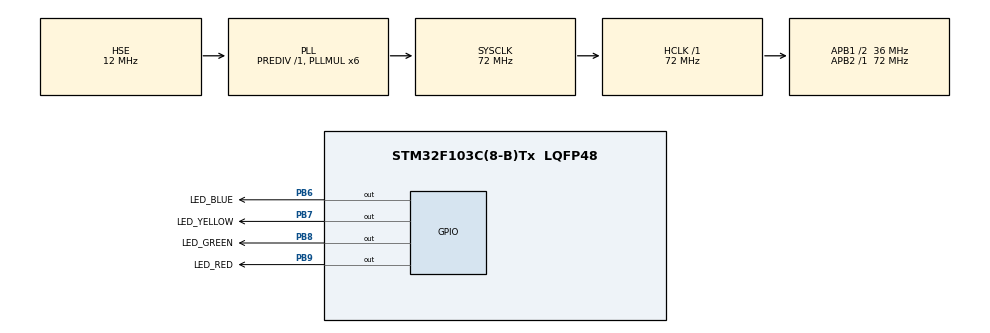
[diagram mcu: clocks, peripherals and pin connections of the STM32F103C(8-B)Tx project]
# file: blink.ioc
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Mcu.Family=STM32F1
Mcu.Name=STM32F103C(8-B)Tx
Mcu.Package=LQFP48
NVIC.PriorityGroup=NVIC_PRIORITYGROUP_4
PA13.Mode=Serial_Wire
PA13.Signal=SYS_JTMS-SWDIO
PA14.Mode=Serial_Wire
PA14.Signal=SYS_JTCK-SWCLK
PB6.GPIO_Label=LED_BLUE
PB6.GPIO_ModeDefaultOutputPP=GPIO_MODE_OUTPUT_OD
PB6.PinState=GPIO_PIN_SET
PB6.Signal=GPIO_Output
PB7.GPIO_Label=LED_YELLOW
PB7.GPIO_ModeDefaultOutputPP=GPIO_MODE_OUTPUT_OD
PB7.PinState=GPIO_PIN_SET
PB7.Signal=GPIO_Output
PB8.GPIO_Label=LED_GREEN
PB8.GPIO_ModeDefaultOutputPP=GPIO_MODE_OUTPUT_OD
PB8.PinState=GPIO_PIN_SET
PB8.Signal=GPIO_Output
PB9.GPIO_Label=LED_RED
PB9.GPIO_ModeDefaultOutputPP=GPIO_MODE_OUTPUT_OD
PB9.PinState=GPIO_PIN_RESET
PB9.Signal=GPIO_Output
PD0-OSC_IN.Mode=HSE-External-Oscillator
PD0-OSC_IN.Signal=RCC_OSC_IN
PD1-OSC_OUT.Mode=HSE-External-Oscillator
PD1-OSC_OUT.Signal=RCC_OSC_OUT
ProjectManager.HeapSize=0x200
ProjectManager.StackSize=0x400
ProjectManager.TargetToolchain=STM32CubeIDE
RCC.AHBFreq_Value=72000000
RCC.APB1CLKDivider=RCC_HCLK_DIV2
RCC.APB1Freq_Value=36000000
RCC.APB1TimFreq_Value=72000000
RCC.APB2Freq_Value=72000000
RCC.APB2TimFreq_Value=72000000
RCC.HCLKFreq_Value=72000000
RCC.HSE_VALUE=12000000
RCC.PLLMUL=RCC_PLL_MUL6
RCC.PLLSourceVirtual=RCC_PLLSOURCE_HSE
RCC.SYSCLKFreq_VALUE=72000000
RCC.SYSCLKSource=RCC_SYSCLKSOURCE_PLLCLK
RCC.USBFreq_Value=72000000
board=custom

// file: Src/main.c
/* USER CODE BEGIN Header */
/**
  ******************************************************************************
  * @file           : main.c
  * @brief          : Main program body
  ******************************************************************************
  * @attention
  *
  * <h2><center>&copy; Copyright (c) 2020 STMicroelectronics.
  * All rights reserved.</center></h2>
  *
  * This software component is licensed by ST under BSD 3-Clause license,
  * the "License"; You may not use this file except in compliance with the
  * License. You may obtain a copy of the License at:
  *                        opensource.org/licenses/BSD-3-Clause
  *
  ******************************************************************************
  */
/* USER CODE END Header */

#include "main.h"

/* USER CODE BEGIN Includes */
#include "tos_k.h"
/* USER CODE END Includes */

void SystemClock_Config(void);
static void MX_GPIO_Init(void);

/* USER CODE BEGIN 0 */
#define TASK_SIZE 512
k_task_t task1_handle;
k_task_t task2_handle;
k_task_t task3_handle;
k_task_t task4_handle;
uint8_t task1_stk[TASK_SIZE];
uint8_t task2_stk[TASK_SIZE];
uint8_t task3_stk[TASK_SIZE];
uint8_t task4_stk[TASK_SIZE];

void task1(void *arg)
{
    while (1) {
    	HAL_GPIO_WritePin(LED_BLUE_GPIO_Port, LED_BLUE_Pin, GPIO_PIN_RESET);
    	tos_task_delay(1000);
    	HAL_GPIO_WritePin(LED_BLUE_GPIO_Port, LED_BLUE_Pin, GPIO_PIN_SET);
    	tos_task_delay(1000);
    }
}

void task2(void *arg)
{
    while (1) {
    	HAL_GPIO_WritePin(LED_BLUE_GPIO_Port, LED_YELLOW_Pin, GPIO_PIN_SET);
    	tos_task_delay(1234);
    	HAL_GPIO_WritePin(LED_BLUE_GPIO_Port, LED_YELLOW_Pin, GPIO_PIN_RESET);
    	tos_task_delay(1234);
    }
}

void task3(void *arg)
{
    while (1) {
    	HAL_GPIO_WritePin(LED_BLUE_GPIO_Port, LED_GREEN_Pin, GPIO_PIN_RESET);
    	tos_task_delay(2345);
    	HAL_GPIO_WritePin(LED_BLUE_GPIO_Port, LED_GREEN_Pin, GPIO_PIN_SET);
    	tos_task_delay(2345);
    }
}

void task4(void *arg)
{
    while (1) {
    	HAL_GPIO_WritePin(LED_BLUE_GPIO_Port, LED_RED_Pin, GPIO_PIN_SET);
    	tos_task_delay(123);
    	HAL_GPIO_WritePin(LED_BLUE_GPIO_Port, LED_RED_Pin, GPIO_PIN_RESET);
    	tos_task_delay(123);
    }
}

/* USER CODE END 0 */

int main(void)
{

  /* MCU Configuration--------------------------------------------------------*/

  /* Reset of all peripherals, Initializes the Flash interface and the Systick. */
  HAL_Init();

  /* Configure the system clock */
  SystemClock_Config();

  /* Initialize all configured peripherals */
  MX_GPIO_Init();
  /* USER CODE BEGIN 2 */
  tos_knl_init();
  tos_task_create(&task1_handle, "task1", task1,      NULL, 3, task1_stk, TASK_SIZE, 0);
  tos_task_create(&task2_handle, "task2", task2,      NULL, 3, task2_stk, TASK_SIZE, 0);
  tos_task_create(&task3_handle, "task3", task3,      NULL, 3, task3_stk, TASK_SIZE, 0);
  tos_task_create(&task4_handle, "task4", task4,      NULL, 3, task4_stk, TASK_SIZE, 0);

  tos_knl_start();
  /* USER CODE END 2 */

  /* Infinite loop */
  while (1)
  {

  }
}

void SystemClock_Config(void)
{
  RCC_OscInitTypeDef RCC_OscInitStruct = {0};
  RCC_ClkInitTypeDef RCC_ClkInitStruct = {0};

  /** Initializes the CPU, AHB and APB busses clocks
  */
  RCC_OscInitStruct.OscillatorType = RCC_OSCILLATORTYPE_HSE;
  RCC_OscInitStruct.HSEState = RCC_HSE_ON;
  RCC_OscInitStruct.HSEPredivValue = RCC_HSE_PREDIV_DIV1;
  RCC_OscInitStruct.HSIState = RCC_HSI_ON;
  RCC_OscInitStruct.PLL.PLLState = RCC_PLL_ON;
  RCC_OscInitStruct.PLL.PLLSource = RCC_PLLSOURCE_HSE;
  RCC_OscInitStruct.PLL.PLLMUL = RCC_PLL_MUL6;
  if (HAL_RCC_OscConfig(&RCC_OscInitStruct) != HAL_OK)
  {
    Error_Handler();
  }
  /** Initializes the CPU, AHB and APB busses clocks
  */
  RCC_ClkInitStruct.ClockType = RCC_CLOCKTYPE_HCLK|RCC_CLOCKTYPE_SYSCLK
                              |RCC_CLOCKTYPE_PCLK1|RCC_CLOCKTYPE_PCLK2;
  RCC_ClkInitStruct.SYSCLKSource = RCC_SYSCLKSOURCE_PLLCLK;
  RCC_ClkInitStruct.AHBCLKDivider = RCC_SYSCLK_DIV1;
  RCC_ClkInitStruct.APB1CLKDivider = RCC_HCLK_DIV2;
  RCC_ClkInitStruct.APB2CLKDivider = RCC_HCLK_DIV1;

  if (HAL_RCC_ClockConfig(&RCC_ClkInitStruct, FLASH_LATENCY_2) != HAL_OK)
  {
    Error_Handler();
  }
}

static void MX_GPIO_Init(void)
{
  GPIO_InitTypeDef GPIO_InitStruct = {0};

  /* GPIO Ports Clock Enable */
  __HAL_RCC_GPIOD_CLK_ENABLE();
  __HAL_RCC_GPIOA_CLK_ENABLE();
  __HAL_RCC_GPIOB_CLK_ENABLE();

  /*Configure GPIO pin Output Level */
  HAL_GPIO_WritePin(GPIOB, LED_BLUE_Pin|LED_YELLOW_Pin|LED_GREEN_Pin, GPIO_PIN_SET);

  /*Configure GPIO pin Output Level */
  HAL_GPIO_WritePin(LED_RED_GPIO_Port, LED_RED_Pin, GPIO_PIN_RESET);

  /*Configure GPIO pins : LED_BLUE_Pin LED_YELLOW_Pin LED_GREEN_Pin LED_RED_Pin */
  GPIO_InitStruct.Pin = LED_BLUE_Pin|LED_YELLOW_Pin|LED_GREEN_Pin|LED_RED_Pin;
  GPIO_InitStruct.Mode = GPIO_MODE_OUTPUT_OD;
  GPIO_InitStruct.Pull = GPIO_NOPULL;
  GPIO_InitStruct.Speed = GPIO_SPEED_FREQ_LOW;
  HAL_GPIO_Init(GPIOB, &GPIO_InitStruct);

}

void Error_Handler(void)
{
}

/************************ (C) COPYRIGHT STMicroelectronics *****END OF FILE****/
